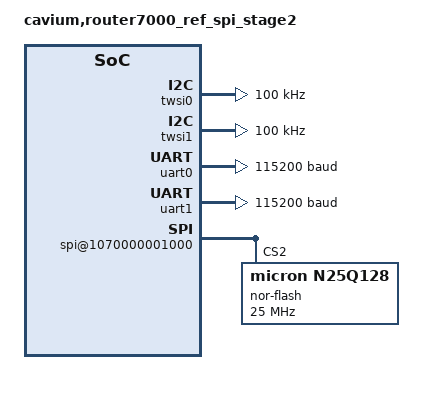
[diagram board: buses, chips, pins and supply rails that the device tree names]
/dts-v1/;
/*
 * Cavium Router7000 Reference board SPI
 */
/ {
	model = "cavium,router7000_ref_spi_stage2";
	compatible = "cavium,router7000_ref_spi_stage2";
	#address-cells = <2>;
	#size-cells = <2>;
	interrupt-parent = <&ciu>;

	soc@0 {
		compatible = "simple-bus";
		#address-cells = <2>;
		#size-cells = <2>;
		ranges; /* Direct mapping */

		ciu: interrupt-controller@1070000000000 {
			compatible = "cavium,octeon-3860-ciu";
			interrupt-controller;
			/* Interrupts are specified by two parts:
			 * 1) Controller register (0 or 1)
			 * 2) Bit within the register (0..63)
			 */
			#interrupt-cells = <2>;
			reg = <0x10700 0x00000000 0x0 0x7000>;
		};

		gpio: gpio-controller@1070000000800 {
			#gpio-cells = <2>;
			compatible = "cavium,octeon-3860-gpio";
			reg = <0x10700 0x00000800 0x0 0x100>;
			gpio-controller;
			/* Interrupts are specified by two parts:
			 * 1) GPIO pin number (0..15)
			 * 2) Triggering (1 - edge rising
			 *		  2 - edge falling
			 *		  4 - level active high
			 *		  8 - level active low)
			 */
			interrupt-controller;
			#interrupt-cells = <2>;
			/* The GPIO pins connect to 16 consecutive CUI bits */
			interrupts = <0 16>; /* <0 17> <0 18> <0 19>
				     <0 20> <0 21> <0 22> <0 23>
				     <0 24> <0 25> <0 26> <0 27>
				     <0 28> <0 29> <0 30> <0 31>; */
		};

		twsi0: i2c@1180000001000 {
			#address-cells = <1>;
			#size-cells = <0>;
			compatible = "cavium,octeon-3860-twsi";
			reg = <0x11800 0x00001000 0x0 0x200>;
			interrupts = <0 45>;
			clock-frequency = <100000>;
		};

		twsi1: i2c@1180000001200 {
			#address-cells = <1>;
			#size-cells = <0>;
			compatible = "cavium,octeon-3860-twsi";
			reg = <0x11800 0x00001200 0x0 0x200>;
			interrupts = <0 59>;
			clock-frequency = <100000>;
		};

		uart0: serial@1180000000800 {
			compatible = "cavium,octeon-3860-uart","ns16550";
			reg = <0x11800 0x00000800 0x0 0x400>;
			clock-frequency = <0>;
			current-speed = <115200>;
			reg-shift = <3>;
			interrupts = <0 34>;
		};

		uart1: serial@1180000000c00 {
			compatible = "cavium,octeon-3860-uart","ns16550";
			reg = <0x11800 0x00000c00 0x0 0x400>;
			clock-frequency = <0>;
			current-speed = <115200>;
			reg-shift = <3>;
			interrupts = <0 35>;
		};

		spi@1070000001000 {
			compatible = "cavium,octeon-3010-spi";
			reg = <0x10700 0x00001000 0x0 0x100>;
			interrupts = <0 58>;
			#address-cells = <1>;
			#size-cells = <0>;

			nor-flash@0 {
				compatible = "micron,n25q128";
				reg = <2>;
				spi-max-frequency = <25000000>;
				spi-cpha;
				spi-cpol;
				pagesize = <256>;
				size = <0x1000000>;
				address-width = <24>;
			};
		};

		dma0: dma-engine@1180000000100 {
			compatible = "cavium,octeon-5750-bootbus-dma";
			reg = <0x11800 0x00000100 0x0 0x8>;
			interrupts = <0 63>;
		};
		dma1: dma-engine@1180000000108 {
			compatible = "cavium,octeon-5750-bootbus-dma";
			reg = <0x11800 0x00000108 0x0 0x8>;
			interrupts = <0 63>;
		};
	};

	aliases {
		twsi0 = &twsi0;
		twsi1 = &twsi1;
		uart0 = &uart0;
		uart1 = &uart1;
	};
 };
